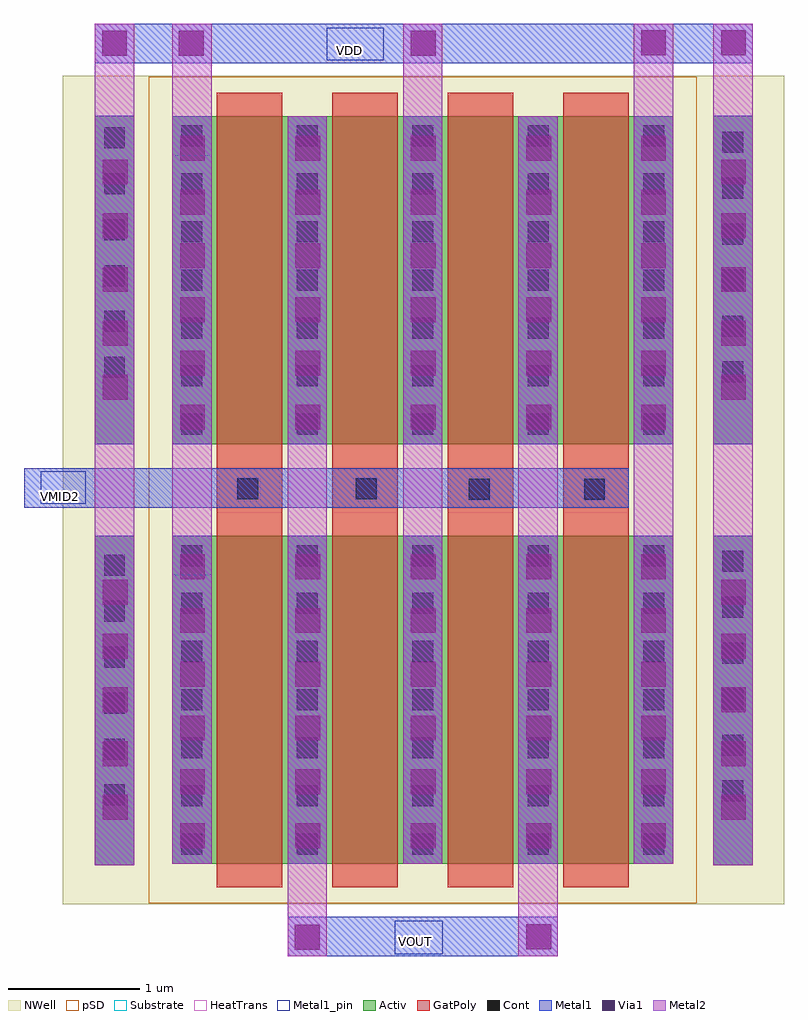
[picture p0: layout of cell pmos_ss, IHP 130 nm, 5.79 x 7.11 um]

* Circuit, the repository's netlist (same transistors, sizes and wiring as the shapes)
* Extracted by KLayout with SG13G2 LVS runset on : 30/04/2024 10:28

* cell pmos_ss
* pin VOUT
* pin VDD
* pin VMID2
.SUBCKT pmos_ss VOUT VDD VMID2
* device instance $1 r0 *1 -4.734,5.389 sg13_lv_pmos
M$1 VDD VMID2 VOUT \$8 sg13_lv_pmos W=20.0 L=0.5
.ENDS pmos_ss

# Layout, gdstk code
from math import pi, radians
import gdstk
lib = gdstk.Library(unit=1e-6, precision=1e-09)
def R(c, l, rs):  # rectangles x0, y0, x1, y1
    for r in rs: c.add(gdstk.rectangle(r[:2], r[2:], *l))
def A(c, l, x, y, w, h, nx, ny, dx, dy):  # array of equal rectangles
    R(c, l, [(x+i*dx, y+j*dy, x+i*dx+w, y+j*dy+h) for i in range(nx) for j in range(ny)])
Activ = (1, 0)
GatPoly = (5, 0)
Cont = (6, 0)
Metal1 = (8, 0)
Metal1_pin = (8, 2)
Metal2 = (10, 0)
pSD = (14, 0)
Via1 = (19, 0)
NWell = (31, 0)
Substrate = (40, 0)
HeatTrans = (51, 0)

pmos_1 = lib.new_cell('pmos$1')
A(pmos_1, Activ, 0, 0, 0.3, 0.3, 5, 1, 0.88, 0)
R(pmos_1, Activ, [(0,0,3.82,2.5)])
A(pmos_1, GatPoly, 0.34, -0.18, 0.5, 2.86, 4, 1, 0.88, 0)
R(pmos_1, GatPoly, [(0.34,-0.18,0.84,2.68), (0.34,-0.18,0.84,2.68)])
A(pmos_1, Cont, 0.07, 0.07, 0.16, 0.16, 5, 3, 0.88, 0.365)
A(pmos_1, Cont, 0.07, 1.17, 0.16, 0.16, 5, 3, 0.88, 0.365)
A(pmos_1, Cont, 0.07, 2.27, 0.16, 0.16, 5, 1, 0.88, 0)
A(pmos_1, Metal1, 0.95, 0, 0.16, 2.5, 4, 1, 0.88, 0)
R(pmos_1, Metal1, [(0.07,0,0.23,2.5), (0.07,0,0.23,2.5), (0.07,0,0.23,2.5), (0.95,0,1.11,2.5), (0.95,0,1.11,2.5)])
R(pmos_1, pSD, [(-0.18,-0.3,4,2.8)])
R(pmos_1, NWell, [(-0.31,-0.31,4.13,2.81)])
R(pmos_1, Substrate, [(3.52,0,3.82,0.3), (3.52,0,3.82,0.3)])
A(pmos_1, HeatTrans, 0.34, -0.18, 0.5, 2.86, 4, 1, 0.88, 0)
pmos_1.add(gdstk.Label('pmos', (0.59,1.25), layer=51, texttype=0))
pmos_1.add(gdstk.Label('pmos', (1.47,1.25), layer=51, texttype=0))
pmos_1.add(gdstk.Label('pmos', (2.35,1.25), layer=51, texttype=0))
pmos_1.add(gdstk.Label('pmos', (3.23,1.25), layer=51, texttype=0))
pmos_1.add(gdstk.Label('pmos', (0.59,1.25), layer=63, texttype=0))

via = lib.new_cell('Via')
A(via, Cont, 0, 0, 0.16, 0.16, 6, 1, 0.35, 0)

via_1 = lib.new_cell('Via$1')
A(via_1, Via1, 0, 0, 0.19, 0.19, 5, 1, 0.41, 0)

via_2 = lib.new_cell('Via$2')
A(via_2, Via1, 0, 0, 0.19, 0.19, 6, 1, 0.41, 0)

pmos_ss = lib.new_cell('pmos_ss')
R(pmos_ss, Activ, [(-5.915,4.13,-5.615,6.64), (-1.2,4.13,-0.9,6.64), (-5.915,7.34,-5.615,9.845), (-1.2,7.34,-0.9,9.845)])
A(pmos_ss, GatPoly, -4.985, 6.82, 0.5, 0.34, 4, 1, 0.88, 0)
R(pmos_ss, Cont, [(-3.065,6.915,-2.905,7.075), (-2.185,6.915,-2.025,7.075), (-4.83,6.92,-4.67,7.08), (-3.925,6.92,-3.765,7.08)])
A(pmos_ss, Metal1, -5.325, 4.14, 0.3, 2.5, 5, 2, 0.88, 3.2)
R(pmos_ss, Metal1, [(-4.445,3.435,-2.385,3.735), (-5.915,4.13,-5.615,6.64), (-1.2,4.13,-0.9,6.64), (-6.455,6.855,-1.845,7.155), (-5.915,7.34,-5.615,9.845), (-1.2,7.34,-0.9,9.845), (-5.915,10.245,-0.9,10.545)])
R(pmos_ss, Metal1_pin, [(-3.627,3.45,-3.263,3.704), (-6.327,6.887,-5.984,7.134), (-4.146,10.267,-3.711,10.514)])
A(pmos_ss, Metal2, -5.325, 4.14, 0.3, 6.405, 3, 1, 1.76, 0)
R(pmos_ss, Metal2, [(-4.445,3.435,-4.145,9.84), (-2.685,3.435,-2.385,9.84), (-5.915,4.13,-5.615,10.545), (-1.2,4.13,-0.9,10.545)])
R(pmos_ss, pSD, [(-5.505,6.94,-1.325,7.04)])
R(pmos_ss, Via1, [(-4.39,3.485,-4.2,3.675), (-2.625,3.49,-2.435,3.68), (-5.86,10.3,-5.67,10.49), (-5.275,10.3,-5.085,10.49), (-3.505,10.3,-3.315,10.49), (-1.75,10.305,-1.56,10.495), (-1.14,10.305,-0.95,10.495)])
R(pmos_ss, NWell, [(-6.16,3.83,-5.635,10.15), (-1.195,3.83,-0.66,10.15), (-5.635,6.95,-1.195,7.03)])
r = gdstk.Reference(pmos_1, (-1.505,9.84), rotation=pi); r.repetition = gdstk.Repetition(1, 2, v1=(0,0), v2=(0,-3.2)); pmos_ss.add(r)
pmos_ss.add(gdstk.Reference(via, (-5.845,9.755), rotation=3*pi/2))
pmos_ss.add(gdstk.Reference(via, (-1.13,6.525), rotation=3*pi/2))
pmos_ss.add(gdstk.Reference(via, (-1.13,9.72), rotation=3*pi/2))
pmos_ss.add(gdstk.Reference(via, (-1.13,6.525), rotation=3*pi/2))
pmos_ss.add(gdstk.Reference(via, (-1.13,6.525), rotation=3*pi/2))
pmos_ss.add(gdstk.Reference(via_1, (-5.855,6.305), rotation=3*pi/2))
pmos_ss.add(gdstk.Reference(via_1, (-1.14,6.305), rotation=3*pi/2))
pmos_ss.add(gdstk.Reference(via, (-5.845,6.495), rotation=3*pi/2))
pmos_ss.add(gdstk.Reference(via_2, (-5.265,6.5), rotation=3*pi/2))
pmos_ss.add(gdstk.Reference(via_2, (-4.385,6.5), rotation=3*pi/2))
pmos_ss.add(gdstk.Reference(via_2, (-3.505,6.5), rotation=3*pi/2))
pmos_ss.add(gdstk.Reference(via_2, (-2.625,6.5), rotation=3*pi/2))
pmos_ss.add(gdstk.Reference(via_2, (-1.75,6.5), rotation=3*pi/2))
pmos_ss.add(gdstk.Reference(via_2, (-5.265,9.69), rotation=3*pi/2))
pmos_ss.add(gdstk.Reference(via_2, (-4.385,9.69), rotation=3*pi/2))
pmos_ss.add(gdstk.Reference(via_2, (-3.505,9.69), rotation=3*pi/2))
pmos_ss.add(gdstk.Reference(via_2, (-2.625,9.69), rotation=3*pi/2))
pmos_ss.add(gdstk.Reference(via_2, (-1.75,9.69), rotation=3*pi/2))
pmos_ss.add(gdstk.Reference(via_1, (-5.855,9.51), rotation=3*pi/2))
pmos_ss.add(gdstk.Reference(via_1, (-1.14,9.51), rotation=3*pi/2))
pmos_ss.add(gdstk.Label('VDD', (-3.971,10.341), layer=8, texttype=1))
pmos_ss.add(gdstk.Label('VOUT', (-3.471,3.551), layer=8, texttype=1))
pmos_ss.add(gdstk.Label('VMID2', (-6.174,6.942), layer=8, texttype=1))

lib.write_gds('pmos_ss.gds')
